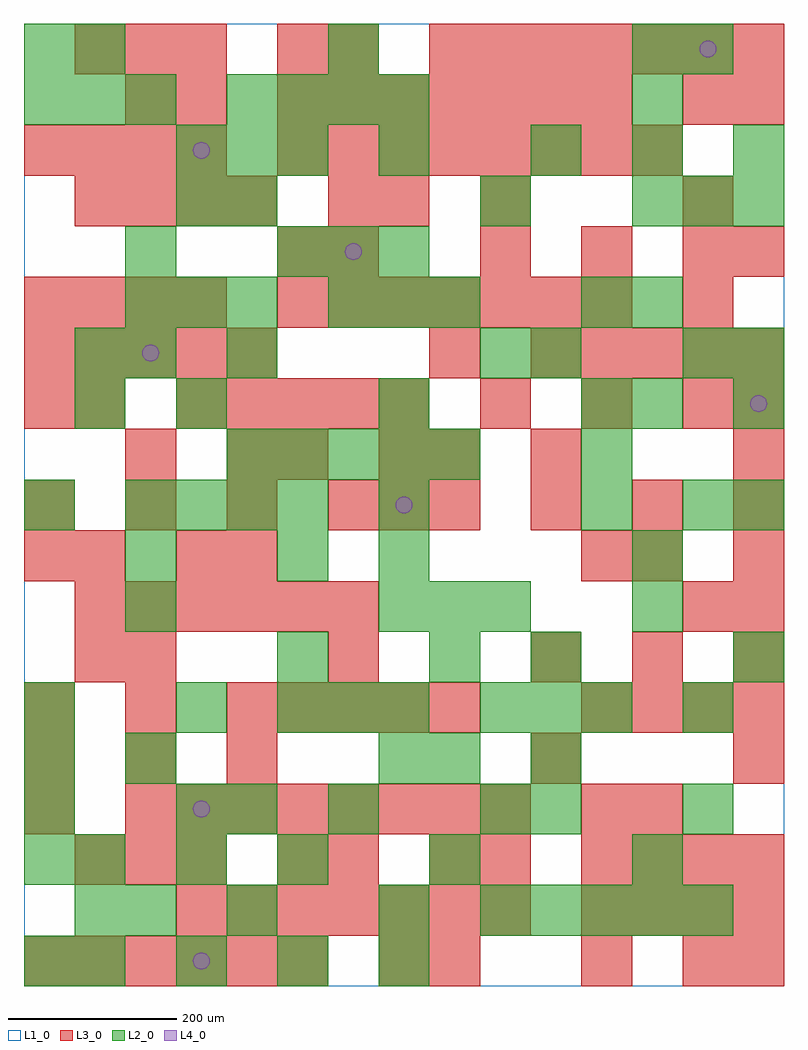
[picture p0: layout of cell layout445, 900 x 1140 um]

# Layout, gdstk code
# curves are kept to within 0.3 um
import gdstk
lib = gdstk.Library(unit=1e-6, precision=1e-09)
def R(c, l, rs):  # rectangles x0, y0, x1, y1
    for r in rs: c.add(gdstk.rectangle(r[:2], r[2:], *l))
def A(c, l, x, y, w, h, nx, ny, dx, dy):  # array of equal rectangles
    R(c, l, [(x+i*dx, y+j*dy, x+i*dx+w, y+j*dy+h) for i in range(nx) for j in range(ny)])
def P(c, l, *ps):  # polygons
    for p in ps: c.add(gdstk.Polygon(p, *l))
L1_0 = (1, 0)
L2_0 = (2, 0)
L3_0 = (3, 0)
L4_0 = (4, 0)

layout445 = lib.new_cell('layout445')
R(layout445, L1_0, [(0,0,900,1140)])
A(layout445, L2_0, 60, 0, 60, 60, 4, 1, 120, 0)
A(layout445, L2_0, 120, 60, 60, 60, 1, 3, 0, 180)
A(layout445, L2_0, 540, 60, 60, 60, 5, 1, 60, 0)
A(layout445, L2_0, 0, 120, 60, 60, 1, 4, 0, 60)
A(layout445, L2_0, 60, 120, 60, 60, 3, 1, 120, 0)
A(layout445, L2_0, 480, 120, 60, 60, 1, 3, 0, 120)
A(layout445, L2_0, 300, 300, 60, 60, 3, 2, 60, 540)
A(layout445, L2_0, 540, 300, 60, 60, 3, 1, 60, 0)
A(layout445, L2_0, 420, 420, 60, 60, 3, 1, 60, 0)
A(layout445, L2_0, 120, 540, 60, 60, 4, 1, 60, 0)
A(layout445, L2_0, 240, 600, 60, 60, 5, 1, 60, 0)
A(layout445, L2_0, 180, 660, 60, 60, 3, 1, 240, 0)
A(layout445, L2_0, 120, 780, 60, 60, 3, 1, 60, 0)
A(layout445, L2_0, 360, 780, 60, 60, 3, 1, 60, 0)
A(layout445, L2_0, 720, 900, 60, 60, 3, 1, 60, 0)
A(layout445, L2_0, 180, 960, 60, 60, 3, 1, 60, 0)
A(layout445, L2_0, 600, 960, 60, 60, 3, 1, 120, 0)
A(layout445, L2_0, 0, 1020, 60, 60, 3, 1, 60, 0)
A(layout445, L2_0, 240, 1020, 60, 60, 4, 1, 60, 0)
R(layout445, L2_0, [(0,0,60,60), (60,60,120,120), (240,60,300,120), (420,60,480,120), (720,120,780,180), (180,180,240,240), (240,180,300,240), (360,180,420,240), (540,180,600,240), (600,180,660,240), (780,180,840,240), (420,240,480,300), (600,240,660,300), (180,300,240,360), (780,300,840,360), (300,360,360,420), (600,360,660,420), (840,360,900,420), (720,420,780,480), (120,480,180,540), (300,480,360,540), (420,480,480,540), (720,480,780,540), (0,540,60,600), (420,540,480,600), (660,540,720,600), (780,540,840,600), (840,540,900,600), (660,600,720,660), (60,660,120,720), (720,660,780,720), (840,660,900,720), (60,720,120,780), (120,720,180,780), (240,720,300,780), (540,720,600,780), (600,720,660,780), (780,720,840,780), (840,720,900,780), (660,780,720,840), (720,780,780,840), (120,840,180,900), (180,900,240,960), (240,900,300,960), (540,900,600,960), (420,960,480,1020), (720,1020,780,1080), (0,1080,60,1140), (60,1080,120,1140), (360,1080,420,1140), (720,1080,780,1140), (780,1080,840,1140)])
A(layout445, L3_0, 0, 0, 60, 60, 6, 1, 60, 0)
A(layout445, L3_0, 180, 60, 60, 60, 7, 1, 60, 0)
A(layout445, L3_0, 660, 60, 60, 60, 4, 2, 60, 60)
A(layout445, L3_0, 60, 120, 60, 60, 3, 2, 60, 960)
A(layout445, L3_0, 120, 180, 60, 60, 8, 1, 60, 0)
A(layout445, L3_0, 0, 240, 60, 60, 3, 2, 120, 60)
A(layout445, L3_0, 300, 300, 60, 60, 4, 1, 60, 0)
A(layout445, L3_0, 660, 300, 60, 60, 4, 1, 60, 0)
A(layout445, L3_0, 120, 360, 60, 60, 3, 1, 240, 0)
A(layout445, L3_0, 840, 360, 60, 60, 1, 3, 0, 60)
A(layout445, L3_0, 60, 420, 60, 60, 6, 1, 60, 0)
A(layout445, L3_0, 0, 540, 60, 60, 4, 1, 120, 0)
A(layout445, L3_0, 480, 540, 60, 60, 4, 1, 120, 0)
A(layout445, L3_0, 300, 600, 60, 60, 1, 3, 0, 240)
A(layout445, L3_0, 180, 660, 60, 60, 5, 1, 60, 0)
A(layout445, L3_0, 540, 660, 60, 60, 3, 2, 120, 180)
A(layout445, L3_0, 840, 660, 60, 60, 1, 3, 0, 180)
A(layout445, L3_0, 0, 720, 60, 60, 5, 1, 60, 0)
A(layout445, L3_0, 600, 720, 60, 60, 5, 1, 60, 0)
A(layout445, L3_0, 0, 780, 60, 60, 4, 2, 60, 180)
A(layout445, L3_0, 300, 780, 60, 60, 7, 2, 60, 240)
A(layout445, L3_0, 780, 780, 60, 60, 1, 3, 0, 120)
A(layout445, L3_0, 60, 900, 60, 60, 4, 1, 60, 0)
A(layout445, L3_0, 300, 960, 60, 60, 8, 1, 60, 0)
A(layout445, L3_0, 480, 1080, 60, 60, 7, 1, 60, 0)
R(layout445, L3_0, [(420,0,480,60), (480,0,540,60), (660,0,720,60), (780,0,840,60), (840,0,900,60), (300,120,360,180), (360,120,420,180), (480,120,540,180), (540,120,600,180), (0,180,60,240), (660,180,720,240), (720,180,780,240), (600,240,660,300), (840,240,900,300), (60,360,120,420), (720,360,780,420), (780,420,840,480), (0,480,60,540), (60,480,120,540), (180,480,240,540), (240,480,300,540), (660,480,720,540), (720,480,780,540), (420,540,480,600), (120,600,180,660), (240,600,300,660), (420,600,480,660), (480,600,540,660), (600,600,660,660), (840,600,900,660), (0,660,60,720), (60,660,120,720), (480,720,540,780), (360,840,420,900), (360,900,420,960), (420,900,480,960), (540,900,600,960), (120,1020,180,1080), (180,1020,240,1080), (360,1080,420,1140)])
P(layout445, L4_0, [(160,750),(159.239,753.827),(157.071,757.071),(153.827,759.239),(150,760),(146.173,759.239),(142.929,757.071),(140.761,753.827),(140,750),(140.761,746.173),(142.929,742.929),(146.173,740.761),(150,740),(153.827,740.761),(157.071,742.929),(159.239,746.173)],
  [(220,30),(219.239,33.827),(217.071,37.071),(213.827,39.239),(210,40),(206.173,39.239),(202.929,37.071),(200.761,33.827),(200,30),(200.761,26.173),(202.929,22.929),(206.173,20.761),(210,20),(213.827,20.761),(217.071,22.929),(219.239,26.173)],
  [(220,210),(219.239,213.827),(217.071,217.071),(213.827,219.239),(210,220),(206.173,219.239),(202.929,217.071),(200.761,213.827),(200,210),(200.761,206.173),(202.929,202.929),(206.173,200.761),(210,200),(213.827,200.761),(217.071,202.929),(219.239,206.173)],
  [(220,990),(219.239,993.827),(217.071,997.071),(213.827,999.239),(210,1000),(206.173,999.239),(202.929,997.071),(200.761,993.827),(200,990),(200.761,986.173),(202.929,982.929),(206.173,980.761),(210,980),(213.827,980.761),(217.071,982.929),(219.239,986.173)],
  [(400,870),(399.239,873.827),(397.071,877.071),(393.827,879.239),(390,880),(386.173,879.239),(382.929,877.071),(380.761,873.827),(380,870),(380.761,866.173),(382.929,862.929),(386.173,860.761),(390,860),(393.827,860.761),(397.071,862.929),(399.239,866.173)],
  [(460,570),(459.239,573.827),(457.071,577.071),(453.827,579.239),(450,580),(446.173,579.239),(442.929,577.071),(440.761,573.827),(440,570),(440.761,566.173),(442.929,562.929),(446.173,560.761),(450,560),(453.827,560.761),(457.071,562.929),(459.239,566.173)],
  [(820,1110),(819.239,1113.827),(817.071,1117.071),(813.827,1119.239),(810,1120),(806.173,1119.239),(802.929,1117.071),(800.761,1113.827),(800,1110),(800.761,1106.173),(802.929,1102.929),(806.173,1100.761),(810,1100),(813.827,1100.761),(817.071,1102.929),(819.239,1106.173)],
  [(880,690),(879.239,693.827),(877.071,697.071),(873.827,699.239),(870,700),(866.173,699.239),(862.929,697.071),(860.761,693.827),(860,690),(860.761,686.173),(862.929,682.929),(866.173,680.761),(870,680),(873.827,680.761),(877.071,682.929),(879.239,686.173)])

lib.write_gds('layout445.gds')
